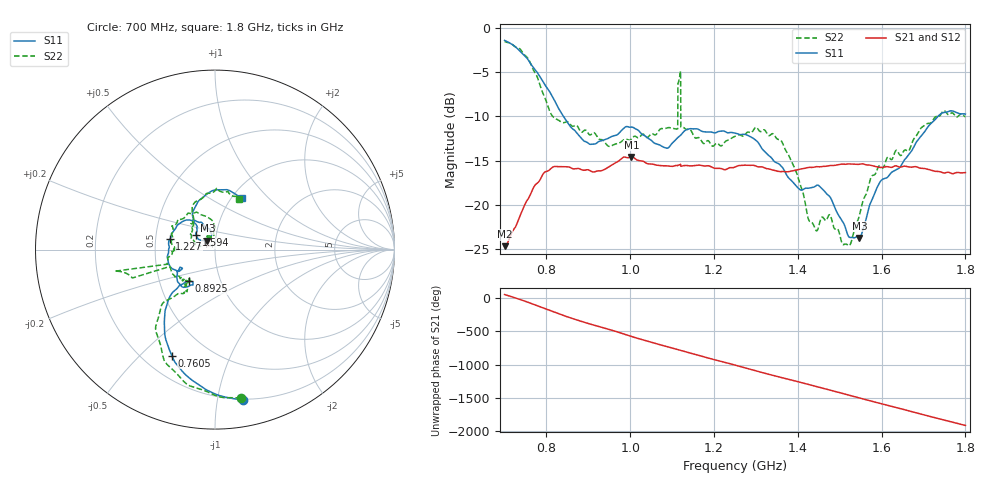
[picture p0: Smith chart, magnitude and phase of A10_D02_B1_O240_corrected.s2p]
! Created with skrf 1.9.0 (http://scikit-rf.org).
# Hz S RI R 50.0
!freq ReS11 ImS11 ReS21 ImS21 ReS12 ImS12 ReS22 ImS22
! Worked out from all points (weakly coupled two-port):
!   1601 points, 700 MHz to 1.8 GHz, reference 50 ohm
!   highest |S21| = -14.58 dB at 1.002 GHz (marker M1); lowest = -24.7 dB at 700.7 MHz (marker M2)
!   lowest |S11| = -23.7 dB at 1.547 GHz (marker M3), VSWR 1.14, Z = 45.7 + j4.55 ohm
!   |S11| at or under -10 dB: 840.5 MHz to 1.734 GHz (893.7 MHz wide, 69.4 % of centre)
!   |S22| runs from -24.6 to -1.5 dB; largest |S21 - S12| = 0.0035
!   S11 on the Smith chart (normalised r, x): 700 MHz: 0.20, -1.19; 760.5 MHz: 0.31, -0.63; 892.5 MHz: 0.71, -0.26; 1.227 GHz: 0.59, +0.07; 1.594 GHz: 0.80, +0.13; 1.8 GHz: 1.11, +0.72
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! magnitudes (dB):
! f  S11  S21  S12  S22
! 700 MHz  -1.4  -24.7  -24.5  -1.5
! 700.7 MHz  -1.4  -24.7  -24.4  -1.5
! 760.5 MHz  -3.9  -19.0  -18.8  -3.9
! 814.1 MHz  -7.7  -15.8  -15.8  -10.0
! 883.6 MHz  -12.5  -16.0  -15.9  -11.8
! 892.5 MHz  -12.9  -16.1  -16.1  -11.5
! 1.002 GHz  -11.2  -14.6  -14.7  -12.6
! 1.067 GHz  -13.2  -15.5  -15.5  -11.7
! 1.108 GHz  -12.7  -15.6  -15.6  -11.4
! 1.119 GHz  -12.2  -15.4  -15.3  -5.1
! 1.126 GHz  -11.8  -15.6  -15.6  -11.2
! 1.227 GHz  -11.7  -16.0  -15.9  -12.8
! 1.25 GHz  -11.9  -15.7  -15.7  -12.3
! 1.359 GHz  -15.6  -16.2  -16.2  -12.7
! 1.434 GHz  -18.0  -15.8  -15.7  -22.0
! 1.476 GHz  -19.1  -15.6  -15.6  -21.1
! 1.521 GHz  -23.6  -15.4  -15.4  -24.6
! 1.547 GHz  -23.7  -15.4  -15.4  -21.2
! 1.594 GHz  -17.6  -15.8  -15.7  -15.6
! 1.617 GHz  -16.7  -15.7  -15.7  -14.6
! 1.739 GHz  -9.8  -16.3  -16.3  -9.9
! 1.8 GHz  -9.7  -16.4  -16.3  -10.0
